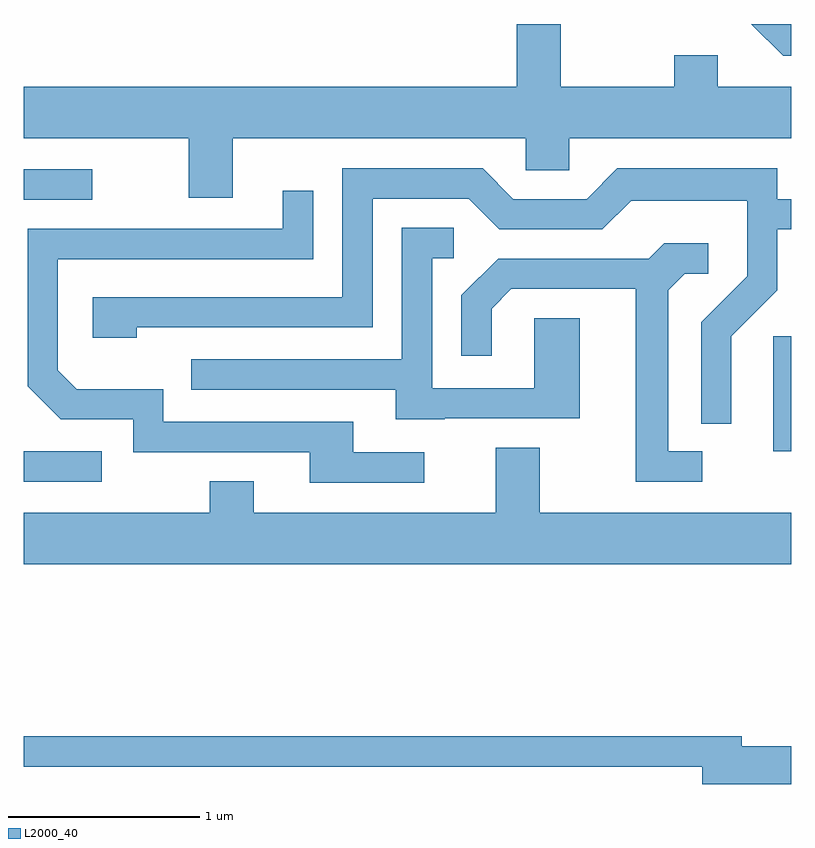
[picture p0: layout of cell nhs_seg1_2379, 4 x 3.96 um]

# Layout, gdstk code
import gdstk
lib = gdstk.Library(unit=1e-6, precision=1e-09)
def R(c, l, rs):  # rectangles x0, y0, x1, y1
    for r in rs: c.add(gdstk.rectangle(r[:2], r[2:], *l))
def P(c, l, *ps):  # polygons
    for p in ps: c.add(gdstk.Polygon(p, *l))
L2000_40 = (2000, 40)

nhs_seg1_2379 = lib.new_cell('nhs_seg1_2379')
R(nhs_seg1_2379, L2000_40, [(257.611,913.326,258.017,913.484), (261.516,913.486,261.611,914.084), (257.611,914.796,257.968,914.954)])
P(nhs_seg1_2379, L2000_40, [(258.699,915.116),(260.226,915.116),(260.226,914.951),(260.454,914.951),(260.454,915.116),(261.611,915.116),(261.611,915.384),(261.229,915.384),(261.229,915.549),(261.001,915.549),(261.001,915.384),(260.409,915.384),(260.409,915.712),(260.181,915.712),(260.181,915.384),(257.611,915.384),(257.611,915.116),(258.471,915.116),(258.471,914.806),(258.699,914.806)],
  [(261.611,915.712),(261.403,915.712),(261.569,915.546),(261.611,915.546)],
  [(261.299,914.084),(261.539,914.324),(261.539,914.641),(261.611,914.641),(261.611,914.799),(261.539,914.799),(261.539,914.959),(260.704,914.959),(260.544,914.799),(260.162,914.799),(260.002,914.959),(259.271,914.959),(259.271,914.289),(257.971,914.289),(257.971,914.076),(258.199,914.076),(258.199,914.131),(259.429,914.131),(259.429,914.801),(259.929,914.801),(260.089,914.641),(260.627,914.641),(260.777,914.791),(261.381,914.791),(261.381,914.397),(261.141,914.157),(261.141,913.628),(261.299,913.628)],
  [(259.698,913.479),(259.329,913.479),(259.329,913.639),(258.339,913.639),(258.339,913.809),(257.887,913.809),(257.789,913.907),(257.789,914.486),(259.119,914.486),(259.119,914.843),(258.961,914.843),(258.961,914.644),(257.631,914.644),(257.631,913.824),(257.804,913.651),(258.181,913.651),(258.181,913.481),(259.101,913.481),(259.101,913.321),(259.698,913.321)],
  [(259.805,913.656),(260.509,913.656),(260.509,914.179),(260.271,914.179),(260.271,913.814),(259.739,913.814),(259.739,914.491),(259.853,914.491),(259.853,914.649),(259.581,914.649),(259.581,913.964),(258.483,913.964),(258.483,913.806),(259.551,913.806),(259.551,913.651),(259.805,913.651)],
  [(261.147,913.484),(260.969,913.484),(260.969,914.324),(261.057,914.411),(261.178,914.411),(261.178,914.569),(260.949,914.569),(260.868,914.489),(260.084,914.489),(259.891,914.297),(259.891,913.983),(260.049,913.983),(260.049,914.229),(260.152,914.331),(260.801,914.331),(260.801,913.326),(261.147,913.326)],
  [(261.611,913.164),(260.299,913.164),(260.299,913.504),(260.071,913.504),(260.071,913.164),(258.809,913.164),(258.809,913.329),(258.581,913.329),(258.581,913.164),(257.611,913.164),(257.611,912.896),(261.611,912.896)],
  [(261.611,911.949),(261.354,911.949),(261.354,911.999),(257.611,911.999),(257.611,911.841),(261.146,911.841),(261.146,911.751),(261.611,911.751)])

lib.write_gds('nhs_seg1_2379.gds')
